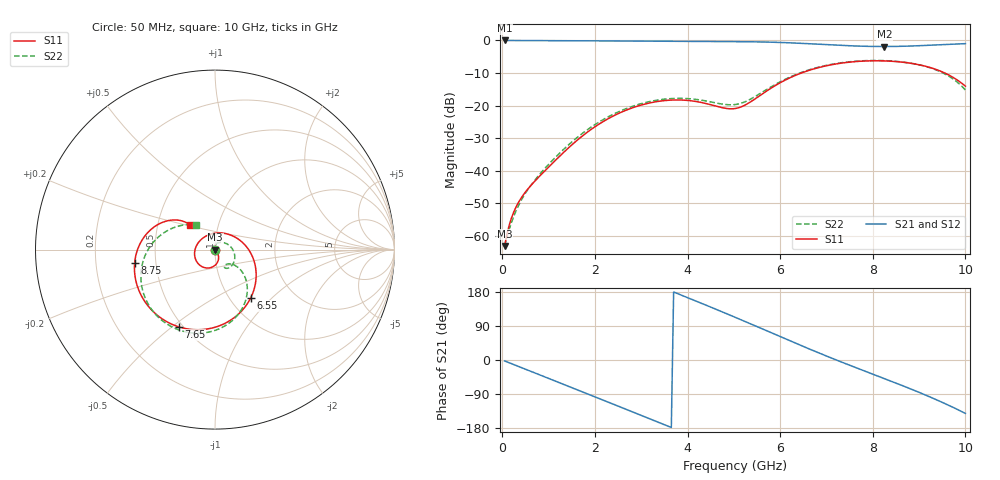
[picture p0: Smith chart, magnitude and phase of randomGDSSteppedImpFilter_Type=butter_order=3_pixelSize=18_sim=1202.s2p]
! freq	dB(S11)	phase(S11)	dB(S12)	phase(S12)
!  dB(S21)	phase(S21)	dB(S22)	phase(S22)
!S-par simulation data
#  GHz  S  DB  R 50
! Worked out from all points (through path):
!   200 points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, 50 MHz to 10 GHz, reference 50 ohm
!   highest |S21| = 0.00 dB at 50 MHz (marker M1); lowest = -1.9 dB at 8.25 GHz (marker M2)
!   group delay of S21, straight-line fit = 139 ps
!   lowest |S11| = -63.0 dB at 50 MHz (marker M3), VSWR 1.00, Z = 50.1 - j0.0496 ohm
!   |S11| at or under -10 dB: start of sweep to 6.456 GHz; 9.556 GHz to end of sweep
!   |S22| runs from -63.1 to -6.1 dB; largest |S21 - S12| = 0
!   S11 on the Smith chart (normalised r, x): 50 MHz: 1.00, -0.00; 6.55 GHz: 1.25, -0.75; 7.65 GHz: 0.47, -0.53; 8.75 GHz: 0.38, -0.07; 10 GHz: 0.73, +0.21
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0.05  -63.04 -44.7  -0.00 -2.5  -0.00 -2.5  -63.12 -60.2
0.2  -54.39 -71.3  -0.02 -9.8  -0.02 -9.8  -55.79 -102.9
0.45  -47.47 -74.0  -0.03 -21.9  -0.03 -21.9  -48.01 -148.5
1.15  -36.74 -57.9  -0.07 -55.8  -0.07 -55.8  -35.81 124.2
1.75  -29.08 -59.2  -0.10 -85.0  -0.10 -85.0  -28.30 70.0
2.5  -22.46 -81.2  -0.17 -121.6  -0.17 -121.6  -21.95 19.3
2.95  -20.03 -100.1  -0.22 -143.7  -0.22 -143.7  -19.59 -5.9
3.4  -18.63 -121.8  -0.27 -165.8  -0.27 -165.8  -18.20 -28.0
3.8  -18.26 -144.1  -0.31 174.5  -0.31 174.5  -17.76 -44.7
4.2  -18.77 -170.8  -0.33 154.7  -0.33 154.7  -18.12 -57.1
5.05  -20.83 93.0  -0.37 111.6  -0.37 111.6  -19.62 -50.9
5.4  -18.49 42.9  -0.41 93.4  -0.41 93.4  -17.69 -39.7
5.75  -15.12 5.6  -0.51 75.0  -0.51 75.0  -14.70 -38.5
6.55  -9.52 -53.4  -0.95 33.2  -0.95 33.2  -9.36 -60.9
6.7  -8.84 -62.6  -1.06 25.5  -1.06 25.5  -8.69 -66.7
7.15  -7.34 -88.5  -1.40 3.1  -1.40 3.1  -7.22 -84.8
7.65  -6.46 -115.1  -1.71 -20.9  -1.71 -20.9  -6.35 -105.6
8.25  -6.28 -145.5  -1.86 -49.1  -1.86 -49.1  -6.18 -131.0
8.35  -6.33 -150.4  -1.86 -53.8  -1.86 -53.8  -6.25 -135.4
8.75  -6.86 -170.4  -1.75 -72.9  -1.75 -72.9  -6.81 -153.4
9.4  -9.07 157.3  -1.34 -106.3  -1.34 -106.3  -9.23 173.0
10  -14.02 135.5  -0.99 -140.8  -0.99 -140.8  -15.20 126.7
